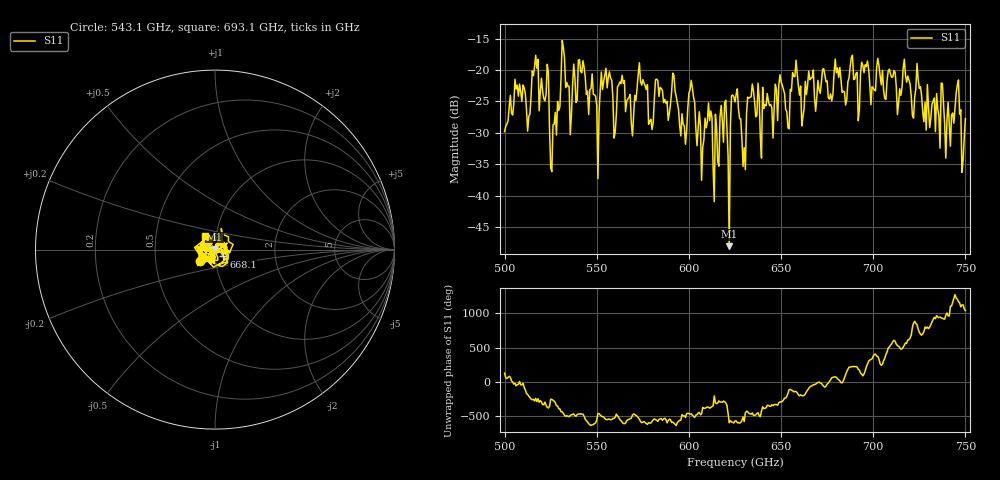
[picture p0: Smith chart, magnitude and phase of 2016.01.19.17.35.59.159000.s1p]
!Created with skrf (http://scikit-rf.org).
# GHz S RI R 50.0
!freq ReS11 ImS11
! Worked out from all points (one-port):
!   401 points, 500 GHz to 750 GHz, reference 50 ohm
!   lowest |S11| = -48.0 dB at 621.9 GHz (marker M1), VSWR 1.01, Z = 49.8 + j0.33 ohm
!   |S11| at or under -10 dB: start of sweep to end of sweep
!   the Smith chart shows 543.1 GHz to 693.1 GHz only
!   S11 on the Smith chart (normalised r, x): 543.1 GHz: 0.84, -0.11; 668.1 GHz: 1.10, -0.08; 693.1 GHz: 0.88, +0.13
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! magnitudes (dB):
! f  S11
! 500 GHz  -29.8
! 506.9 GHz  -22.4
! 513.1 GHz  -27.4
! 516.9 GHz  -17.7
! 525.6 GHz  -36.1
! 531.2 GHz  -15.3
! 535.6 GHz  -30.3
! 543.1 GHz  -19.6
! 550 GHz  -25.7
! 553.8 GHz  -21.8
! 560 GHz  -29.9
! 562.5 GHz  -21.9
! 593.8 GHz  -25.2
! 598.1 GHz  -31.8
! 601.2 GHz  -21.6
! 614.4 GHz  -27.0
! 618.8 GHz  -31.5
! 621.9 GHz  -48.0
! 625 GHz  -25.1
! 629.4 GHz  -35.3
! 633.1 GHz  -24.3
! 653.1 GHz  -26.7
! 656.2 GHz  -20.4
! 668.1 GHz  -24.3
! 687.5 GHz  -19.5
! 693.1 GHz  -20.4
! 718.8 GHz  -21.0
! 750 GHz  -27.7
